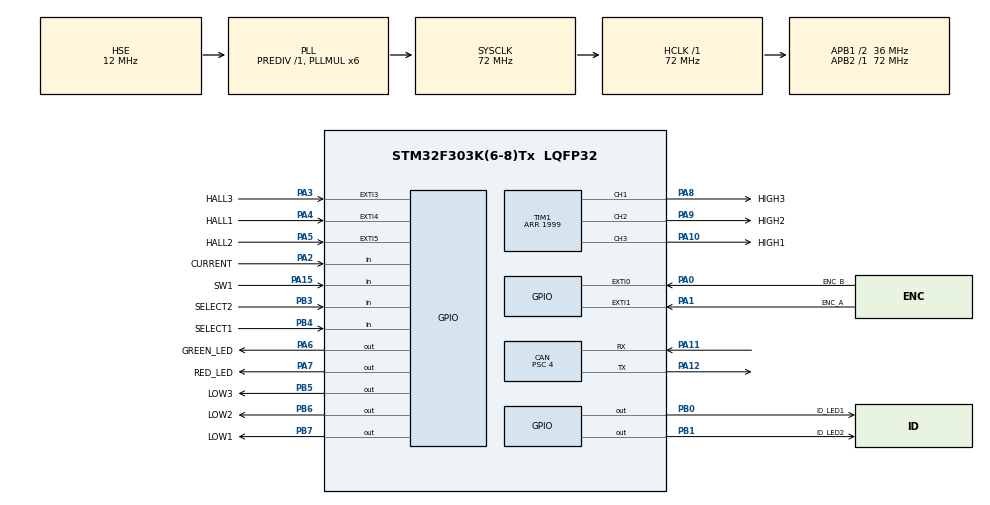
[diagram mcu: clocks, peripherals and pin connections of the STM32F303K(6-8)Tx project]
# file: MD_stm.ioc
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CAN.BS1=CAN_BS1_7TQ
CAN.CalculateTimeQuantum=111.11111111111111
CAN.Prescaler=4
Mcu.Family=STM32F3
Mcu.Name=STM32F303K(6-8)Tx
Mcu.Package=LQFP32
NVIC.EXTI0_IRQn=true\:0\:0\:false\:false\:true\:true\:true
NVIC.EXTI1_IRQn=true\:0\:0\:false\:false\:true\:true\:true
NVIC.EXTI3_IRQn=true\:0\:0\:false\:false\:true\:true\:true
NVIC.EXTI4_IRQn=true\:0\:0\:false\:false\:true\:true\:true
NVIC.EXTI9_5_IRQn=true\:0\:0\:false\:false\:true\:true\:true
NVIC.PriorityGroup=NVIC_PRIORITYGROUP_4
NVIC.TIM1_BRK_TIM15_IRQn=true\:0\:0\:false\:false\:true\:true\:true
NVIC.TIM1_CC_IRQn=true\:0\:0\:false\:false\:true\:true\:true
NVIC.TIM1_TRG_COM_TIM17_IRQn=true\:0\:0\:false\:false\:true\:true\:true
NVIC.TIM1_UP_TIM16_IRQn=true\:0\:0\:false\:false\:true\:true\:true
NVIC.TIM6_DAC1_IRQn=true\:0\:0\:false\:false\:true\:true\:true
NVIC.TIM7_DAC2_IRQn=true\:0\:0\:false\:false\:true\:true\:true
PA0.GPIO_Label=ENC_B
PA0.GPIO_ModeDefaultEXTI=GPIO_MODE_IT_RISING_FALLING
PA0.GPIO_PuPd=GPIO_PULLUP
PA0.Signal=GPXTI0
PA1.GPIO_Label=ENC_A
PA1.GPIO_ModeDefaultEXTI=GPIO_MODE_IT_RISING_FALLING
PA1.GPIO_PuPd=GPIO_PULLUP
PA1.Signal=GPXTI1
PA10.GPIO_Label=HIGH1
PA10.Signal=S_TIM1_CH3
PA11.Mode=Master
PA11.Signal=CAN_RX
PA12.Mode=Master
PA12.Signal=CAN_TX
PA13.Signal=SYS_JTMS-SWDIO
PA14.Signal=SYS_JTCK-SWCLK
PA15.GPIO_Label=SW1
PA15.GPIO_PuPd=GPIO_PULLUP
PA15.Signal=GPIO_Input
PA2.GPIO_Label=CURRENT
PA2.Signal=GPIO_Input
PA3.GPIO_Label=HALL3
PA3.GPIO_ModeDefaultEXTI=GPIO_MODE_IT_RISING_FALLING
PA3.Signal=GPXTI3
PA4.GPIO_Label=HALL1
PA4.GPIO_ModeDefaultEXTI=GPIO_MODE_IT_RISING_FALLING
PA4.Signal=GPXTI4
PA5.GPIO_Label=HALL2
PA5.GPIO_ModeDefaultEXTI=GPIO_MODE_IT_RISING_FALLING
PA5.Signal=GPXTI5
PA6.GPIO_Label=GREEN_LED
PA6.Signal=GPIO_Output
PA7.GPIO_Label=RED_LED
PA7.Signal=GPIO_Output
PA8.GPIO_Label=HIGH3
PA8.Signal=S_TIM1_CH1
PA9.GPIO_Label=HIGH2
PA9.Signal=S_TIM1_CH2
PB0.GPIO_Label=ID_LED1
PB0.Signal=GPIO_Output
PB1.GPIO_Label=ID_LED2
PB1.Signal=GPIO_Output
PB3.GPIO_Label=SELECT2
PB3.GPIO_PuPd=GPIO_PULLUP
PB3.Signal=GPIO_Input
PB4.GPIO_Label=SELECT1
PB4.GPIO_PuPd=GPIO_PULLUP
PB4.Signal=GPIO_Input
PB5.GPIO_Label=LOW3
PB5.Signal=GPIO_Output
PB6.GPIO_Label=LOW2
PB6.Signal=GPIO_Output
PB7.GPIO_Label=LOW1
PB7.Signal=GPIO_Output
PF0\ /\ OSC_IN.Mode=HSE-External-Oscillator
PF0\ /\ OSC_IN.Signal=RCC_OSC_IN
PF1\ /\ OSC_OUT.Mode=HSE-External-Oscillator
PF1\ /\ OSC_OUT.Signal=RCC_OSC_OUT
ProjectManager.HeapSize=0x200
ProjectManager.StackSize=0x400
ProjectManager.TargetToolchain=TrueSTUDIO
RCC.AHBFreq_Value=72000000
RCC.APB1CLKDivider=RCC_HCLK_DIV2
RCC.APB1Freq_Value=36000000
RCC.APB1TimFreq_Value=72000000
RCC.APB2Freq_Value=72000000
RCC.APB2TimFreq_Value=72000000
RCC.CortexFreq_Value=72000000
RCC.HCLKFreq_Value=72000000
RCC.HSE_VALUE=12000000
RCC.HSI_VALUE=8000000
RCC.PLLMUL=RCC_PLL_MUL6
RCC.PLLSourceVirtual=RCC_PLLSOURCE_HSE
RCC.SYSCLKFreq_VALUE=72000000
RCC.SYSCLKSourceVirtual=RCC_SYSCLKSOURCE_PLLCLK
SH.S_TIM1_CH1.0=TIM1_CH1,PWM Generation1 CH1
SH.S_TIM1_CH2.0=TIM1_CH2,PWM Generation2 CH2
SH.S_TIM1_CH3.0=TIM1_CH3,PWM Generation3 CH3
TIM1.Channel-PWM\ Generation1\ CH1=TIM_CHANNEL_1
TIM1.Channel-PWM\ Generation2\ CH2=TIM_CHANNEL_2
TIM1.Channel-PWM\ Generation3\ CH3=TIM_CHANNEL_3
TIM1.Period=1999
TIM6.Period=999
TIM6.Prescaler=71
TIM7.Period=999
TIM7.Prescaler=35
VP_TIM1_VS_ClockSourceINT.Mode=Internal
VP_TIM6_VS_ClockSourceINT.Mode=Enable_Timer
VP_TIM7_VS_ClockSourceINT.Mode=Enable_Timer
board=custom

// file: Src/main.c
/* USER CODE BEGIN Header */
/**
 ******************************************************************************
 * @file           : main.c
 * @brief          : Main program body
 ******************************************************************************
 * @attention
 *
 * <h2><center>&copy; Copyright (c) 2019 STMicroelectronics.
 * All rights reserved.</center></h2>
 *
 * This software component is licensed by ST under BSD 3-Clause license,
 * the "License"; You may not use this file except in compliance with the
 * License. You may obtain a copy of the License at:
 *                        opensource.org/licenses/BSD-3-Clause
 *
 ******************************************************************************
 */
/* USER CODE END Header */

#include "main.h"
#include "can.h"
#include "tim.h"
#include "gpio.h"

/* USER CODE BEGIN Includes */
#include "stdbool.h"
#include "math.h"
#include "SEGGER_RTT.h"
#include "string.h"
/* USER CODE END Includes */

/* USER CODE BEGIN PD */
#define MAX_SPEED 1900
#define MIN_SPEED 100
#define MAX_RPM 4000
#define CALC_HZ 1000
#define ENC_RES 2000
/* USER CODE END PD */

/* USER CODE BEGIN PV */
/*CAN*/
#define MD_USE_ID1 0x0001
#define MD_USE_ID2 0x0002
#define MD_USE_ID3 0x0003
#define MD_USE_ID4 0x0004
CAN_TxHeaderTypeDef TxHeader;
CAN_RxHeaderTypeDef RxHeader;
uint8_t TxData[8]={0,0,0,0,0,0,0,0};
uint8_t RxData[8]={0,0,0,0,0,0,0,0};
uint32_t TxMailbox=0;

CAN_FilterTypeDef sFilterConfig;

uint32_t MD_ID=0;
int16_t receive_data=0;
//uint16_t receive_data=0;
uint8_t can_i1=0,can_i2=0;
int16_t test_data=0;
/*CAN*/

/*HALL*/
uint8_t hall_state=0,old_hall_state=0;
bool hall_state1=0,hall_state2=0,hall_state3=0;
/*HALL*/

/*MOTOR*/
bool drive_flag=0;
int16_t motor_speed=0,old_motor_speed=0;
/*MOTOR*/

/*ENCODER*/
int16_t encoder_count=0,old_encoder_count=0;
uint8_t enc_state=0,old_enc_state=0;
bool enc_stateA=0,enc_stateB=0;
/*ENCODER*/

/*PID*/
float RAD_COEF=1.0/((float)ENC_RES)*2*M_PI*CALC_HZ;
float DATA_COEF=1.0/32767.0*MAX_RPM/60.0*2*M_PI;
float DATA_COEF2=1.0/32768.0*MAX_RPM/60.0*2*M_PI;
float Kp=0.012;
float Ki=0;
float Kd=0;
float now_speed=0;
float diff_speed=0,old_diff_speed=0;
float target_speed=0;
float PID_speed=0;
/*PID*/

/*DEBUG*/
char debug_str[100];
uint16_t printf_count=0;
/*DEBUG*/

/*SETTING*/
bool select_sw1=0,select_sw2=0;
uint8_t board_number=0;
bool MD_enable=0;
/*SETTING*/
/* USER CODE END PV */

void SystemClock_Config(void);
/* USER CODE BEGIN PFP */
void BLDC_drive(int16_t BLDC_speed);
void motor_PID(float target_PID_speed);
void HAL_TIM_PeriodElapsedCallback(TIM_HandleTypeDef *htim)
{
	if(htim->Instance == TIM6) {
		now_speed=(encoder_count-old_encoder_count)*RAD_COEF;
		if(encoder_count>30000 || encoder_count<-30000) encoder_count=0;
		old_encoder_count=encoder_count;
		motor_PID(target_speed);
		if(old_motor_speed==0 && motor_speed!=0) drive_flag=true;
		old_motor_speed=motor_speed;
	} else if (htim->Instance == TIM7) {
		HAL_CAN_GetRxMessage(&hcan,CAN_RX_FIFO0,&RxHeader,RxData);
		if(RxHeader.StdId==MD_ID) {
			receive_data=(int16_t)((RxData[0]<<8) | RxData[1]);
			MD_enable=(bool)RxData[4];
			if(receive_data<0) {
				target_speed=receive_data*DATA_COEF2;
			} else {
				target_speed=receive_data*DATA_COEF;
			}
		}
	}
}
/* USER CODE END PFP */

int main(void)
{

  /* MCU Configuration--------------------------------------------------------*/

  /* Reset of all peripherals, Initializes the Flash interface and the Systick. */
  HAL_Init();

  /* Configure the system clock */
  SystemClock_Config();

  /* Initialize all configured peripherals */
  MX_GPIO_Init();
  MX_CAN_Init();
  MX_TIM1_Init();
  MX_TIM6_Init();
  MX_TIM7_Init();
  /* USER CODE BEGIN 2 */
	select_sw1=HAL_GPIO_ReadPin(GPIOB, GPIO_PIN_4);
	select_sw1=!select_sw1;
	select_sw2=HAL_GPIO_ReadPin(GPIOB, GPIO_PIN_3);
	select_sw2=!select_sw2;
	board_number=(select_sw2<<1) | select_sw1;

	if(board_number==0) {
		HAL_GPIO_WritePin(GPIOB, GPIO_PIN_0, RESET);
		HAL_GPIO_WritePin(GPIOB, GPIO_PIN_1, RESET);
		MD_ID=MD_USE_ID1;
	} else if(board_number==1) {
		HAL_GPIO_WritePin(GPIOB, GPIO_PIN_0, SET);
		HAL_GPIO_WritePin(GPIOB, GPIO_PIN_1, RESET);
		MD_ID=MD_USE_ID2;
	} else if(board_number==2) {
		HAL_GPIO_WritePin(GPIOB, GPIO_PIN_0, RESET);
		HAL_GPIO_WritePin(GPIOB, GPIO_PIN_1, SET);
		MD_ID=MD_USE_ID3;
	} else {
		HAL_GPIO_WritePin(GPIOB, GPIO_PIN_0, SET);
		HAL_GPIO_WritePin(GPIOB, GPIO_PIN_1, SET);
		MD_ID=MD_USE_ID4;
	}

	TxHeader.DLC=8;
	TxHeader.StdId=0x0001;
	TxHeader.ExtId=0x00000001;
	TxHeader.IDE=CAN_ID_STD;
	TxHeader.RTR=CAN_RTR_DATA;;
	TxHeader.TransmitGlobalTime=DISABLE;

	sFilterConfig.FilterBank = 0;
	sFilterConfig.FilterMode = CAN_FILTERMODE_IDMASK;
	sFilterConfig.FilterScale = CAN_FILTERSCALE_32BIT;
	sFilterConfig.FilterIdHigh = 0x0000;
	sFilterConfig.FilterIdLow = 0x0000;
	sFilterConfig.FilterMaskIdHigh = 0x0000;
	sFilterConfig.FilterMaskIdLow = 0x0000;
	sFilterConfig.FilterFIFOAssignment = CAN_RX_FIFO0;
	sFilterConfig.FilterActivation = ENABLE;
	sFilterConfig.SlaveStartFilterBank = 0;

	if (HAL_CAN_ConfigFilter(&hcan,&sFilterConfig)!=HAL_OK) Error_Handler();
	if(HAL_CAN_Start(&hcan)!=HAL_OK) Error_Handler();
	if(HAL_CAN_ActivateNotification(&hcan, CAN_IT_RX_FIFO0_MSG_PENDING)!=HAL_OK) Error_Handler();

	if (HAL_TIM_PWM_Start(&htim1, TIM_CHANNEL_1) != HAL_OK) Error_Handler();
	if (HAL_TIM_PWM_Start(&htim1, TIM_CHANNEL_2) != HAL_OK) Error_Handler();
	if (HAL_TIM_PWM_Start(&htim1, TIM_CHANNEL_3) != HAL_OK) Error_Handler();
	HAL_TIM_Base_Start_IT(&htim6);
	HAL_TIM_Base_Start_IT(&htim7);

  /* USER CODE END 2 */

  /* Infinite loop */
  /* USER CODE BEGIN WHILE */
	HAL_GPIO_WritePin(GPIOA, GREEN_LED_Pin, SET);

	while(HAL_GPIO_ReadPin(GPIOA, GPIO_PIN_15));

	hall_state1=HAL_GPIO_ReadPin(GPIOA, GPIO_PIN_4);
	hall_state2=HAL_GPIO_ReadPin(GPIOA, GPIO_PIN_5);
	hall_state3=HAL_GPIO_ReadPin(GPIOA, GPIO_PIN_3);
	hall_state=(hall_state3<<2) | (hall_state2<<1) | (hall_state1);
	old_hall_state=hall_state;
	old_motor_speed=0;
	enc_state=(enc_stateB<<1) | (enc_stateA);
	old_enc_state=enc_state;
	target_speed=0*DATA_COEF;
	motor_speed=0;
	while (1)
	{
		/*if(HAL_GPIO_ReadPin(GPIOA, GPIO_PIN_15)) motor_speed=0;
		else motor_speed=-1000;*/
		//if(old_motor_speed==0 && motor_speed!=0) drive_flag=true;
		if(drive_flag==true) {
			if(old_hall_state==hall_state) {
				BLDC_drive(motor_speed);
				//HAL_GPIO_WritePin(GPIOA, GPIO_PIN_7, SET);
			}
			else {
				drive_flag=false;
				//HAL_GPIO_WritePin(GPIOA, GPIO_PIN_7, RESET);
			}
		}
		//old_motor_speed=motor_speed;
		old_hall_state=hall_state;

		if(printf_count>10000) {
			//sprintf(debug_str,"target:%d-omega:%d-duty:%d\r\n",(int16_t)(target_speed),(int16_t)(now_speed),motor_speed);
			sprintf(debug_str,"ID:%d-receive:%d-Rx:%d\r\n",MD_ID,receive_data,RxData[1]);
			SEGGER_RTT_Write(0, debug_str, strlen(debug_str));
			printf_count=0;
		}
		printf_count++;
    /* USER CODE END WHILE */

	}
}

void SystemClock_Config(void)
{
  RCC_OscInitTypeDef RCC_OscInitStruct = {0};
  RCC_ClkInitTypeDef RCC_ClkInitStruct = {0};
  RCC_PeriphCLKInitTypeDef PeriphClkInit = {0};

  /** Initializes the CPU, AHB and APB busses clocks
  */
  RCC_OscInitStruct.OscillatorType = RCC_OSCILLATORTYPE_HSE;
  RCC_OscInitStruct.HSEState = RCC_HSE_ON;
  RCC_OscInitStruct.HSEPredivValue = RCC_HSE_PREDIV_DIV1;
  RCC_OscInitStruct.HSIState = RCC_HSI_ON;
  RCC_OscInitStruct.PLL.PLLState = RCC_PLL_ON;
  RCC_OscInitStruct.PLL.PLLSource = RCC_PLLSOURCE_HSE;
  RCC_OscInitStruct.PLL.PLLMUL = RCC_PLL_MUL6;
  if (HAL_RCC_OscConfig(&RCC_OscInitStruct) != HAL_OK)
  {
    Error_Handler();
  }
  /** Initializes the CPU, AHB and APB busses clocks
  */
  RCC_ClkInitStruct.ClockType = RCC_CLOCKTYPE_HCLK|RCC_CLOCKTYPE_SYSCLK
                              |RCC_CLOCKTYPE_PCLK1|RCC_CLOCKTYPE_PCLK2;
  RCC_ClkInitStruct.SYSCLKSource = RCC_SYSCLKSOURCE_PLLCLK;
  RCC_ClkInitStruct.AHBCLKDivider = RCC_SYSCLK_DIV1;
  RCC_ClkInitStruct.APB1CLKDivider = RCC_HCLK_DIV2;
  RCC_ClkInitStruct.APB2CLKDivider = RCC_HCLK_DIV1;

  if (HAL_RCC_ClockConfig(&RCC_ClkInitStruct, FLASH_LATENCY_2) != HAL_OK)
  {
    Error_Handler();
  }
  PeriphClkInit.PeriphClockSelection = RCC_PERIPHCLK_TIM1;
  PeriphClkInit.Tim1ClockSelection = RCC_TIM1CLK_HCLK;
  if (HAL_RCCEx_PeriphCLKConfig(&PeriphClkInit) != HAL_OK)
  {
    Error_Handler();
  }
}

/* USER CODE BEGIN 4 */
void HAL_GPIO_EXTI_Callback(uint16_t GPIO_Pin)
{
	if(GPIO_Pin==ENC_A_Pin || GPIO_Pin==ENC_B_Pin) {
		enc_stateA=HAL_GPIO_ReadPin(GPIOA, ENC_A_Pin);
		enc_stateB=HAL_GPIO_ReadPin(GPIOA, ENC_B_Pin);
		enc_state=(enc_stateB<<1) | (enc_stateA);
		if(enc_state==1) {
			if(old_enc_state==0) encoder_count--;
			else if(old_enc_state==3) encoder_count++;
		} else if(enc_state==3) {
			if(old_enc_state==1) encoder_count--;
			else if(old_enc_state==2) encoder_count++;
		} else if(enc_state==2) {
			if(old_enc_state==3) encoder_count--;
			else if(old_enc_state==0) encoder_count++;
		} else if(enc_state==0) {
			if(old_enc_state==2) encoder_count--;
			else if(old_enc_state==1) encoder_count++;
		}
		old_enc_state=enc_state;
	} else if(GPIO_Pin==HALL1_Pin || GPIO_Pin==HALL2_Pin || GPIO_Pin==HALL3_Pin) {
		hall_state1=HAL_GPIO_ReadPin(GPIOA, HALL1_Pin);
		hall_state2=HAL_GPIO_ReadPin(GPIOA, HALL2_Pin);
		hall_state3=HAL_GPIO_ReadPin(GPIOA, HALL3_Pin);
		hall_state=(hall_state3<<2) | (hall_state2<<1) | (hall_state1);
		BLDC_drive(motor_speed);
	}
}

void BLDC_drive(int16_t BLDC_speed) {//3���̋쓮
	if(!MD_enable) BLDC_speed=0;
	if(BLDC_speed>MAX_SPEED) BLDC_speed=MAX_SPEED;
	else if(BLDC_speed<-MAX_SPEED) BLDC_speed=-MAX_SPEED;
	if(BLDC_speed>0) {
		if(hall_state==1) {
			__HAL_TIM_SET_COMPARE(&htim1, TIM_CHANNEL_1, 0);
			__HAL_TIM_SET_COMPARE(&htim1, TIM_CHANNEL_2, 0);
			__HAL_TIM_SET_COMPARE(&htim1, TIM_CHANNEL_3, BLDC_speed);

			HAL_GPIO_WritePin(GPIOB, LOW1_Pin, RESET);
			HAL_GPIO_WritePin(GPIOB, LOW2_Pin, RESET);
			HAL_GPIO_WritePin(GPIOB, LOW3_Pin, SET);
		} else if(hall_state==3) {
			__HAL_TIM_SET_COMPARE(&htim1, TIM_CHANNEL_1, 0);
			__HAL_TIM_SET_COMPARE(&htim1, TIM_CHANNEL_2, BLDC_speed);
			__HAL_TIM_SET_COMPARE(&htim1, TIM_CHANNEL_3, 0);

			HAL_GPIO_WritePin(GPIOB, LOW1_Pin, RESET);
			HAL_GPIO_WritePin(GPIOB, LOW2_Pin, RESET);
			HAL_GPIO_WritePin(GPIOB, LOW3_Pin, SET);
		} else if(hall_state==2) {
			__HAL_TIM_SET_COMPARE(&htim1, TIM_CHANNEL_1, 0);
			__HAL_TIM_SET_COMPARE(&htim1, TIM_CHANNEL_2, BLDC_speed);
			__HAL_TIM_SET_COMPARE(&htim1, TIM_CHANNEL_3, 0);

			HAL_GPIO_WritePin(GPIOB, LOW1_Pin, SET);
			HAL_GPIO_WritePin(GPIOB, LOW2_Pin, RESET);
			HAL_GPIO_WritePin(GPIOB, LOW3_Pin, RESET);
		} else if(hall_state==6) {
			__HAL_TIM_SET_COMPARE(&htim1, TIM_CHANNEL_1, BLDC_speed);
			__HAL_TIM_SET_COMPARE(&htim1, TIM_CHANNEL_2, 0);
			__HAL_TIM_SET_COMPARE(&htim1, TIM_CHANNEL_3, 0);

			HAL_GPIO_WritePin(GPIOB, LOW1_Pin, SET);
			HAL_GPIO_WritePin(GPIOB, LOW2_Pin, RESET);
			HAL_GPIO_WritePin(GPIOB, LOW3_Pin, RESET);
		} else if(hall_state==4) {
			__HAL_TIM_SET_COMPARE(&htim1, TIM_CHANNEL_1, BLDC_speed);
			__HAL_TIM_SET_COMPARE(&htim1, TIM_CHANNEL_2, 0);
			__HAL_TIM_SET_COMPARE(&htim1, TIM_CHANNEL_3, 0);

			HAL_GPIO_WritePin(GPIOB, LOW1_Pin, RESET);
			HAL_GPIO_WritePin(GPIOB, LOW2_Pin, SET);
			HAL_GPIO_WritePin(GPIOB, LOW3_Pin, RESET);
		} else {
			__HAL_TIM_SET_COMPARE(&htim1, TIM_CHANNEL_1, 0);
			__HAL_TIM_SET_COMPARE(&htim1, TIM_CHANNEL_2, 0);
			__HAL_TIM_SET_COMPARE(&htim1, TIM_CHANNEL_3, BLDC_speed);

			HAL_GPIO_WritePin(GPIOB, LOW1_Pin, RESET);
			HAL_GPIO_WritePin(GPIOB, LOW2_Pin, SET);
			HAL_GPIO_WritePin(GPIOB, LOW3_Pin, RESET);
		}
	} else if(BLDC_speed<0) {
		BLDC_speed=-BLDC_speed;
		if(hall_state==1) {
			__HAL_TIM_SET_COMPARE(&htim1, TIM_CHANNEL_1, BLDC_speed);
			__HAL_TIM_SET_COMPARE(&htim1, TIM_CHANNEL_2, 0);
			__HAL_TIM_SET_COMPARE(&htim1, TIM_CHANNEL_3, 0);

			HAL_GPIO_WritePin(GPIOB, LOW1_Pin, SET);
			HAL_GPIO_WritePin(GPIOB, LOW2_Pin, RESET);
			HAL_GPIO_WritePin(GPIOB, LOW3_Pin, RESET);
		} else if(hall_state==3) {
			__HAL_TIM_SET_COMPARE(&htim1, TIM_CHANNEL_1, BLDC_speed);
			__HAL_TIM_SET_COMPARE(&htim1, TIM_CHANNEL_2, 0);
			__HAL_TIM_SET_COMPARE(&htim1, TIM_CHANNEL_3, 0);

			HAL_GPIO_WritePin(GPIOB, LOW1_Pin, RESET);
			HAL_GPIO_WritePin(GPIOB, LOW2_Pin, SET);
			HAL_GPIO_WritePin(GPIOB, LOW3_Pin, RESET);
		} else if(hall_state==2) {
			__HAL_TIM_SET_COMPARE(&htim1, TIM_CHANNEL_1, 0);
			__HAL_TIM_SET_COMPARE(&htim1, TIM_CHANNEL_2, 0);
			__HAL_TIM_SET_COMPARE(&htim1, TIM_CHANNEL_3, BLDC_speed);

			HAL_GPIO_WritePin(GPIOB, LOW1_Pin, RESET);
			HAL_GPIO_WritePin(GPIOB, LOW2_Pin, SET);
			HAL_GPIO_WritePin(GPIOB, LOW3_Pin, RESET);
		} else if(hall_state==6) {
			__HAL_TIM_SET_COMPARE(&htim1, TIM_CHANNEL_1, 0);
			__HAL_TIM_SET_COMPARE(&htim1, TIM_CHANNEL_2, 0);
			__HAL_TIM_SET_COMPARE(&htim1, TIM_CHANNEL_3, BLDC_speed);

			HAL_GPIO_WritePin(GPIOB, LOW1_Pin, RESET);
			HAL_GPIO_WritePin(GPIOB, LOW2_Pin, RESET);
			HAL_GPIO_WritePin(GPIOB, LOW3_Pin, SET);
		} else if(hall_state==4) {
			__HAL_TIM_SET_COMPARE(&htim1, TIM_CHANNEL_1, 0);
			__HAL_TIM_SET_COMPARE(&htim1, TIM_CHANNEL_2, BLDC_speed);
			__HAL_TIM_SET_COMPARE(&htim1, TIM_CHANNEL_3, 0);

			HAL_GPIO_WritePin(GPIOB, LOW1_Pin, RESET);
			HAL_GPIO_WritePin(GPIOB, LOW2_Pin, RESET);
			HAL_GPIO_WritePin(GPIOB, LOW3_Pin, SET);
		} else {
			__HAL_TIM_SET_COMPARE(&htim1, TIM_CHANNEL_1, 0);
			__HAL_TIM_SET_COMPARE(&htim1, TIM_CHANNEL_2, BLDC_speed);
			__HAL_TIM_SET_COMPARE(&htim1, TIM_CHANNEL_3, 0);

			HAL_GPIO_WritePin(GPIOB, LOW1_Pin, SET);
			HAL_GPIO_WritePin(GPIOB, LOW2_Pin, RESET);
			HAL_GPIO_WritePin(GPIOB, LOW3_Pin, RESET);
		}
	} else {
		__HAL_TIM_SET_COMPARE(&htim1, TIM_CHANNEL_1, 0);
		__HAL_TIM_SET_COMPARE(&htim1, TIM_CHANNEL_2, 0);
		__HAL_TIM_SET_COMPARE(&htim1, TIM_CHANNEL_3, 0);

		HAL_GPIO_WritePin(GPIOB, LOW1_Pin, SET);
		HAL_GPIO_WritePin(GPIOB, LOW2_Pin, SET);
		HAL_GPIO_WritePin(GPIOB, LOW3_Pin, SET);
	}
}

void motor_PID(float target_PID_speed) {
	float motor_P=0,motor_I=0,motor_D=0;
	if(target_PID_speed==0) {
		PID_speed=0;
		motor_speed=0;
		old_motor_speed=0;
		diff_speed=0;
		old_diff_speed=0;
	} else {
		diff_speed=target_PID_speed-now_speed;
		motor_P=Kp*diff_speed;
		motor_D=Kd*(diff_speed-old_diff_speed);
		PID_speed+=(motor_P+motor_I+motor_D);
		motor_speed=(int16_t)PID_speed;
		if(motor_speed>MAX_SPEED) motor_speed=MAX_SPEED;
		if(motor_speed<-MAX_SPEED) motor_speed=-MAX_SPEED;
		if(0<motor_speed && motor_speed<MIN_SPEED) motor_speed=MIN_SPEED;
		if(0>motor_speed && motor_speed>-MIN_SPEED) motor_speed=-MIN_SPEED;
		if(target_PID_speed*motor_speed<0) {
			motor_speed=0;
			HAL_GPIO_WritePin(GPIOA, GPIO_PIN_7, SET);
		} else HAL_GPIO_WritePin(GPIOA, GPIO_PIN_7, RESET);
		old_diff_speed=diff_speed;
	}
}
/* USER CODE END 4 */

void Error_Handler(void)
{
}

/************************ (C) COPYRIGHT STMicroelectronics *****END OF FILE****/
